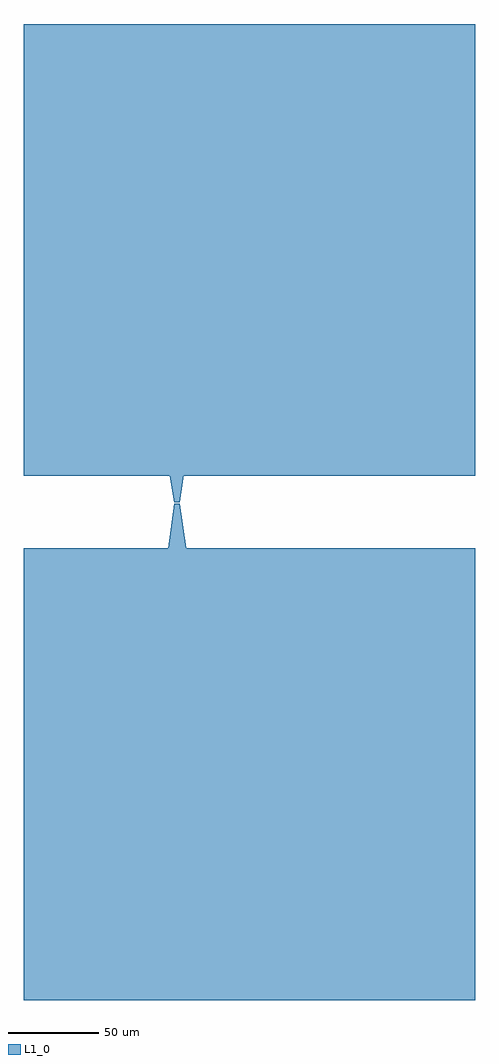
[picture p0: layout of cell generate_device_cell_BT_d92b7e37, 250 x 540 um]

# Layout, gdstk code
import gdstk
lib = gdstk.Library(unit=1e-6, precision=1e-09)
def R(c, l, rs):  # rectangles x0, y0, x1, y1
    for r in rs: c.add(gdstk.rectangle(r[:2], r[2:], *l))
def P(c, l, *ps):  # polygons
    for p in ps: c.add(gdstk.Polygon(p, *l))
L1_0 = (1, 0)

rectangle_s250_250_l1_0_ = lib.new_cell('rectangle_S250_250_L1_0_074ab488')
R(rectangle_s250_250_l1_0_, L1_0, [(0,0,250,250)])

unnamed_72 = lib.new_cell('Unnamed_72')
R(unnamed_72, L1_0, [(233.5,144.5,236.5,145.5)])
unnamed_72.add(gdstk.Reference(rectangle_s250_250_l1_0_, (0,0)))
unnamed_72.add(gdstk.Reference(rectangle_s250_250_l1_0_, (0,290)))

unnamed_73 = lib.new_cell('Unnamed_73')
R(unnamed_73, L1_0, [(230,90,240,120), (230,170,240,200)])
P(unnamed_73, L1_0, [(230,120),(233.5,144.5),(236.5,144.5),(240,120)],
  [(233.5,145.5),(230,165),(240,170),(236.5,145.5)])

generate_device_cell_bt_ = lib.new_cell('generate_device_cell_BT_d92b7e37')
generate_device_cell_bt_.add(gdstk.Reference(unnamed_72, (0,0)))
generate_device_cell_bt_.add(gdstk.Reference(unnamed_73, (-150,130)))

lib.write_gds('generate_device_cell_BT_d92b7e37.gds')
